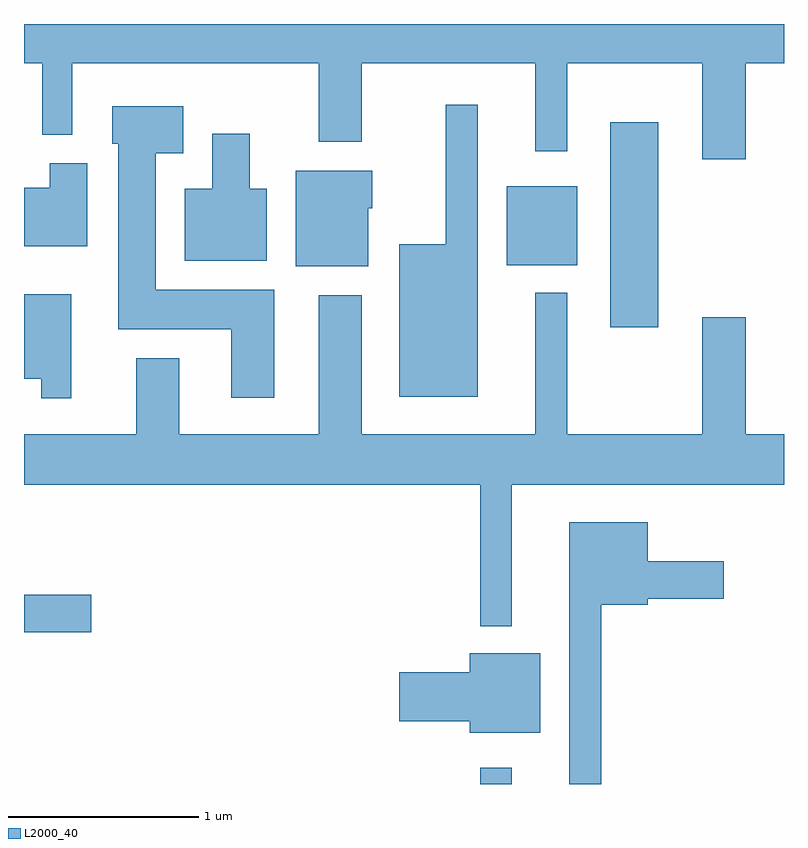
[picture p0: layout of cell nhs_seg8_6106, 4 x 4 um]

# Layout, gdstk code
import gdstk
lib = gdstk.Library(unit=1e-6, precision=1e-09)
def R(c, l, rs):  # rectangles x0, y0, x1, y1
    for r in rs: c.add(gdstk.rectangle(r[:2], r[2:], *l))
def P(c, l, *ps):  # polygons
    for p in ps: c.add(gdstk.Polygon(p, *l))
L2000_40 = (2000, 40)

nhs_seg8_6106 = lib.new_cell('nhs_seg8_6106')
R(nhs_seg8_6106, L2000_40, [(370.011,1890.342,370.179,1890.428), (367.611,1891.141,367.964,1891.339), (370.696,1892.746,370.949,1893.824), (370.151,1893.071,370.524,1893.489)])
P(nhs_seg8_6106, L2000_40, [(371.409,1894.136),(371.611,1894.136),(371.611,1894.342),(367.611,1894.342),(367.611,1894.136),(367.706,1894.136),(367.706,1893.758),(367.864,1893.758),(367.864,1894.136),(369.161,1894.136),(369.161,1893.721),(369.389,1893.721),(369.389,1894.136),(370.301,1894.136),(370.301,1893.673),(370.469,1893.673),(370.469,1894.136),(371.181,1894.136),(371.181,1893.631),(371.409,1893.631)],
  [(369.999,1893.918),(369.831,1893.918),(369.831,1893.184),(369.586,1893.184),(369.586,1892.381),(369.999,1892.381)],
  [(368.929,1892.944),(368.304,1892.944),(368.304,1893.661),(368.449,1893.661),(368.449,1893.909),(368.076,1893.909),(368.076,1893.711),(368.106,1893.711),(368.106,1892.736),(368.701,1892.736),(368.701,1892.376),(368.929,1892.376)],
  [(368.889,1893.474),(368.799,1893.474),(368.799,1893.764),(368.601,1893.764),(368.601,1893.474),(368.456,1893.474),(368.456,1893.096),(368.889,1893.096)],
  [(367.944,1893.609),(367.746,1893.609),(367.746,1893.479),(367.611,1893.479),(367.611,1893.171),(367.944,1893.171)],
  [(369.424,1893.371),(369.444,1893.371),(369.444,1893.569),(369.041,1893.569),(369.041,1893.066),(369.424,1893.066)],
  [(370.179,1891.916),(371.611,1891.916),(371.611,1892.184),(371.409,1892.184),(371.409,1892.799),(371.181,1892.799),(371.181,1892.184),(370.469,1892.184),(370.469,1892.928),(370.301,1892.928),(370.301,1892.184),(369.389,1892.184),(369.389,1892.914),(369.161,1892.914),(369.161,1892.184),(368.429,1892.184),(368.429,1892.584),(368.201,1892.584),(368.201,1892.184),(367.611,1892.184),(367.611,1891.916),(370.011,1891.916),(370.011,1891.173),(370.179,1891.173)],
  [(367.859,1892.919),(367.611,1892.919),(367.611,1892.476),(367.701,1892.476),(367.701,1892.373),(367.859,1892.373)],
  [(370.649,1891.286),(370.894,1891.286),(370.894,1891.316),(371.294,1891.316),(371.294,1891.514),(370.894,1891.514),(370.894,1891.719),(370.481,1891.719),(370.481,1890.342),(370.649,1890.342)],
  [(370.329,1891.029),(369.956,1891.029),(369.956,1890.929),(369.586,1890.929),(369.586,1890.671),(369.956,1890.671),(369.956,1890.611),(370.329,1890.611)])

lib.write_gds('nhs_seg8_6106.gds')
